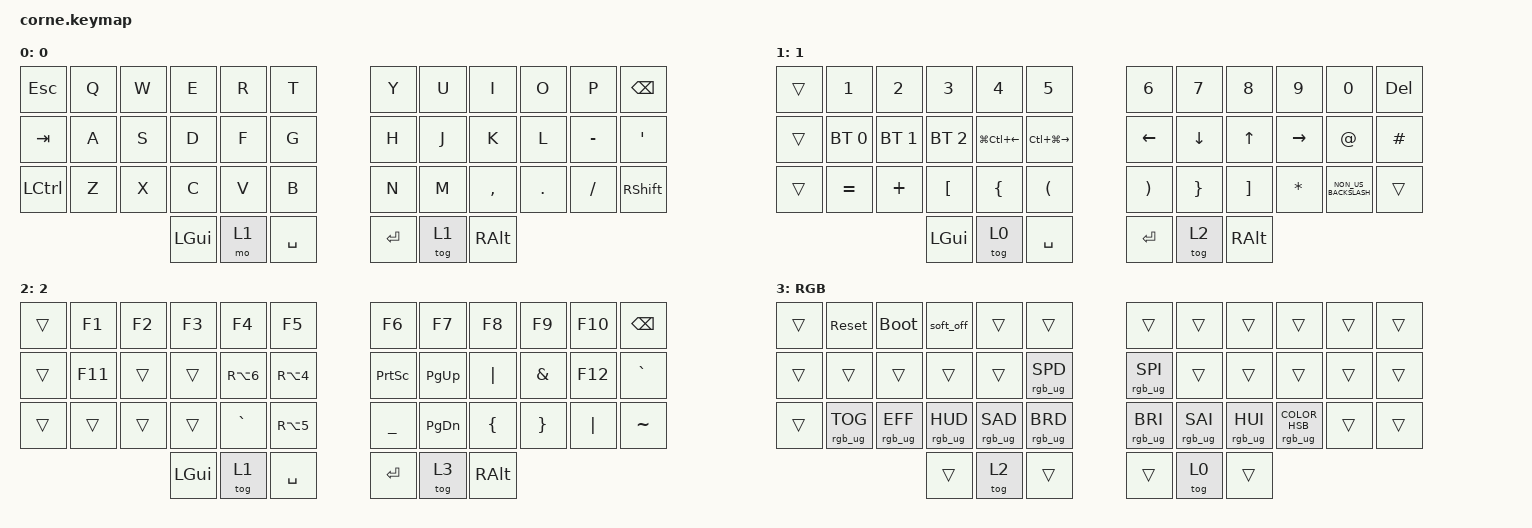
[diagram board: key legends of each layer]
/*
 * Copyright (c) 2020 The ZMK Contributors
 *
 * SPDX-License-Identifier: MIT
 */

#include <behaviors.dtsi>
#include <dt-bindings/zmk/bt.h>
#include <dt-bindings/zmk/keys.h>
#include <dt-bindings/zmk/rgb.h>

/ {
    keymap {
        compatible = "zmk,keymap";

        Default {
            display-name = "0";

            // -----------------------------------------------------------------------------------------
            // |  TAB |  Q  |  W  |  E  |  R  |  T  |   |  Y  |  U   |  I  |  O  |  P  | BSPC |
            // | CTRL |  A  |  S  |  D  |  F  |  G  |   |  H  |  J   |  K  |  L  |  ;  |  '   |
            // | SHFT |  Z  |  X  |  C  |  V  |  B  |   |  N  |  M   |  ,  |  .  |  /  | ESC  |
            //                    | GUI | LWR | SPC |   | ENT | RSE  | ALT |

            bindings = <
&kp ESC           &kp Q  &kp W  &kp E     &kp R  &kp T        &kp Y    &kp U   &kp I      &kp O    &kp P      &kp BSPC
&kp TAB           &kp A  &kp S  &kp D     &kp F  &kp G        &kp H    &kp J   &kp K      &kp L    &kp MINUS  &kp SQT
&kp LEFT_CONTROL  &kp Z  &kp X  &kp C     &kp V  &kp B        &kp N    &kp M   &kp COMMA  &kp DOT  &kp FSLH   &kp RIGHT_SHIFT
                                &kp LGUI  &mo 1  &kp SPACE    &kp RET  &tog 1  &kp RALT
            >;
        };

        Numbers {
            display-name = "1";

            // -----------------------------------------------------------------------------------------
            // |  TAB |  1  |  2  |  3  |  4  |  5  |   |  6  |  7  |  8  |  9  |  0  | BSPC |
            // | BTCLR| BT1 | BT2 | BT3 | BT4 | BT5 |   | LFT | DWN |  UP | RGT |     |      |
            // | SHFT |     |     |     |     |     |   |     |     |     |     |     |      |
            //                    | GUI |     | SPC |   | ENT |     | ALT |

            bindings = <
&trans  &kp N1        &kp N2        &kp N3            &kp N4            &kp N5               &kp N6    &kp N7           &kp N8             &kp N9        &kp N0                &kp DELETE
&trans  &bt BT_SEL 0  &bt BT_SEL 1  &bt BT_SEL 2      &kp LG(LC(LEFT))  &kp LC(LG(RIGHT))    &kp LEFT  &kp DOWN         &kp UP             &kp RIGHT     &kp AT                &kp HASH
&trans  &kp EQUAL     &kp PLUS      &kp LEFT_BRACKET  &kp LEFT_BRACE    &kp LPAR             &kp RPAR  &kp RIGHT_BRACE  &kp RIGHT_BRACKET  &kp ASTERISK  &kp NON_US_BACKSLASH  &trans
                                    &kp LGUI          &tog 0            &kp SPACE            &kp RET   &tog 2           &kp RALT
            >;
        };

        Functions {
            display-name = "2";

            // -----------------------------------------------------------------------------------------
            // |  TAB |  !  |  @  |  #  |  $  |  %  |   |  ^  |  &  |  *  |  (  |  )  | BSPC |
            // | CTRL |     |     |     |     |     |   |  -  |  =  |  [  |  ]  |  \  |  `   |
            // | SHFT |     |     |     |     |     |   |  _  |  +  |  {  |  }  | "|" |  ~   |
            //                    | GUI |     | SPC |   | ENT |     | ALT |

            bindings = <
&trans  &kp F1   &kp F2  &kp F3    &kp F4            &kp F5              &kp F6           &kp F7         &kp F8    &kp F9         &kp F10   &kp BSPC
&trans  &kp F11  &trans  &trans    &kp RA(NUMBER_6)  &kp RA(NUMBER_4)    &kp PRINTSCREEN  &kp PAGE_UP    &kp PIPE  &kp AMPERSAND  &kp F12   &kp GRAVE
&trans  &trans   &trans  &trans    &kp GRAVE         &kp RA(N5)          &kp UNDER        &kp PAGE_DOWN  &kp LBRC  &kp RBRC       &kp PIPE  &kp TILDE
                         &kp LGUI  &tog 1            &kp SPACE           &kp RET          &tog 3         &kp RALT
            >;
        };

        RGB {
            bindings = <
&trans  &sys_reset       &bootloader      &soft_off        &trans           &trans             &trans           &trans           &trans           &trans                            &trans  &trans
&trans  &trans           &trans           &trans           &trans           &rgb_ug RGB_SPD    &rgb_ug RGB_SPI  &trans           &trans           &trans                            &trans  &trans
&trans  &rgb_ug RGB_TOG  &rgb_ug RGB_EFF  &rgb_ug RGB_HUD  &rgb_ug RGB_SAD  &rgb_ug RGB_BRD    &rgb_ug RGB_BRI  &rgb_ug RGB_SAI  &rgb_ug RGB_HUI  &rgb_ug RGB_COLOR_HSB(202,80,44)  &trans  &trans
                                          &trans           &tog 2           &trans             &trans           &tog 0           &trans
            >;
        };
    };
};
